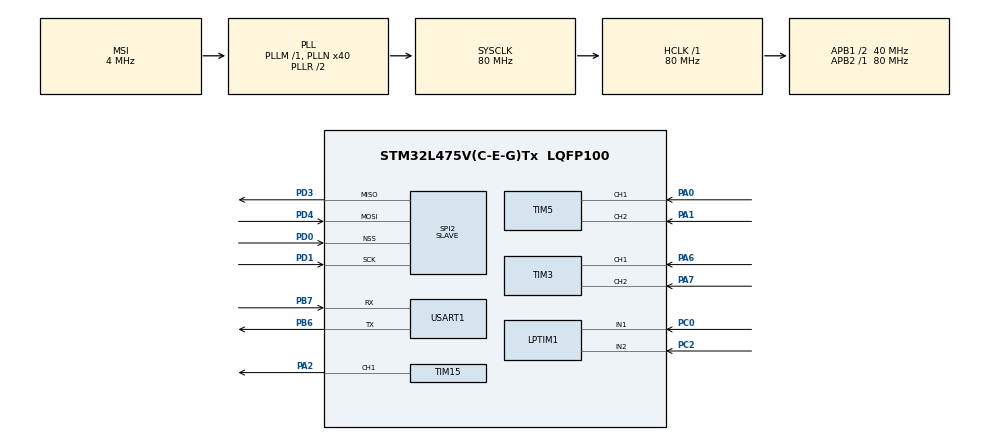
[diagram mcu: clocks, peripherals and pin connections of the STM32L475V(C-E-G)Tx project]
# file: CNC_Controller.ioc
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Dma.Request0=SPI2_RX
Dma.Request1=SPI2_TX
Dma.SPI2_RX.0.Direction=DMA_PERIPH_TO_MEMORY
Dma.SPI2_RX.0.Instance=DMA1_Channel4
Dma.SPI2_RX.0.MemDataAlignment=DMA_MDATAALIGN_BYTE
Dma.SPI2_RX.0.MemInc=DMA_MINC_ENABLE
Dma.SPI2_RX.0.Mode=DMA_CIRCULAR
Dma.SPI2_RX.0.PeriphDataAlignment=DMA_PDATAALIGN_BYTE
Dma.SPI2_RX.0.PeriphInc=DMA_PINC_DISABLE
Dma.SPI2_RX.0.Priority=DMA_PRIORITY_LOW
Dma.SPI2_TX.1.Direction=DMA_MEMORY_TO_PERIPH
Dma.SPI2_TX.1.Instance=DMA1_Channel5
Dma.SPI2_TX.1.MemDataAlignment=DMA_MDATAALIGN_BYTE
Dma.SPI2_TX.1.MemInc=DMA_MINC_ENABLE
Dma.SPI2_TX.1.Mode=DMA_CIRCULAR
Dma.SPI2_TX.1.PeriphDataAlignment=DMA_PDATAALIGN_BYTE
Dma.SPI2_TX.1.PeriphInc=DMA_PINC_DISABLE
Dma.SPI2_TX.1.Priority=DMA_PRIORITY_LOW
Mcu.Family=STM32L4
Mcu.Name=STM32L475V(C-E-G)Tx
Mcu.Package=LQFP100
NVIC.DMA1_Channel4_IRQn=true\:0\:0\:false\:false\:true\:false\:true\:true
NVIC.DMA1_Channel5_IRQn=true\:0\:0\:false\:false\:true\:false\:true\:true
NVIC.LPTIM1_IRQn=true\:0\:0\:false\:false\:true\:true\:true\:true
NVIC.PriorityGroup=NVIC_PRIORITYGROUP_4
NVIC.SPI2_IRQn=true\:0\:0\:false\:false\:true\:true\:true\:true
NVIC.TIM6_DAC_IRQn=true\:0\:0\:false\:false\:true\:true\:true\:true
NVIC.TIM7_IRQn=true\:0\:0\:false\:false\:true\:true\:true\:true
PA0.Signal=S_TIM5_CH1
PA1.Signal=S_TIM5_CH2
PA13\ (JTMS-SWDIO).Mode=Trace_Asynchronous_SW
PA13\ (JTMS-SWDIO).Signal=SYS_JTMS-SWDIO
PA14\ (JTCK-SWCLK).Mode=Trace_Asynchronous_SW
PA14\ (JTCK-SWCLK).Signal=SYS_JTCK-SWCLK
PA2.Signal=S_TIM15_CH1
PA6.Signal=S_TIM3_CH1
PA7.Signal=S_TIM3_CH2
PB13.Signal=TIM15_CH1N
PB3\ (JTDO-TRACESWO).Mode=Trace_Asynchronous_SW
PB3\ (JTDO-TRACESWO).Signal=SYS_JTDO-SWO
PB6.Mode=Asynchronous
PB6.Signal=USART1_TX
PB7.Mode=Asynchronous
PB7.Signal=USART1_RX
PC0.Mode=Encoder_mode_occur1
PC0.Signal=LPTIM1_IN1
PC2.Mode=Encoder_mode_occur1
PC2.Signal=LPTIM1_IN2
PD0.Mode=NSS_Signal_Hard_Input
PD0.Signal=SPI2_NSS
PD1.Mode=Full_Duplex_Slave
PD1.Signal=SPI2_SCK
PD3.Mode=Full_Duplex_Slave
PD3.Signal=SPI2_MISO
PD4.Mode=Full_Duplex_Slave
PD4.Signal=SPI2_MOSI
ProjectManager.HeapSize=0x200
ProjectManager.StackSize=0x400
ProjectManager.TargetToolchain=STM32CubeIDE
RCC.AHBFreq_Value=80000000
RCC.APB1CLKDivider=RCC_HCLK_DIV2
RCC.APB1Freq_Value=40000000
RCC.APB1TimFreq_Value=80000000
RCC.APB2Freq_Value=80000000
RCC.APB2TimFreq_Value=80000000
RCC.CortexFreq_Value=80000000
RCC.HCLKFreq_Value=80000000
RCC.HSE_VALUE=8000000
RCC.HSI_VALUE=16000000
RCC.LSE_VALUE=32768
RCC.MSI_VALUE=4000000
RCC.PLLN=40
RCC.SYSCLKFreq_VALUE=80000000
RCC.SYSCLKSource=RCC_SYSCLKSOURCE_PLLCLK
RCC.VCOOutputFreq_Value=160000000
SH.S_TIM15_CH1.0=TIM15_CH1,PWM Generation1 CH1
SH.S_TIM3_CH1.0=TIM3_CH1,Encoder_Interface
SH.S_TIM3_CH2.0=TIM3_CH2,Encoder_Interface
SH.S_TIM5_CH1.0=TIM5_CH1,Encoder_Interface
SH.S_TIM5_CH2.0=TIM5_CH2,Encoder_Interface
SPI2.CLKPhase=SPI_PHASE_2EDGE
SPI2.CLKPolarity=SPI_POLARITY_HIGH
SPI2.CRCCalculation=SPI_CRCCALCULATION_DISABLE
SPI2.DataSize=SPI_DATASIZE_8BIT
SPI2.Direction=SPI_DIRECTION_2LINES
SPI2.Mode=SPI_MODE_SLAVE
SPI2.VirtualNSS=VM_NSSHARD
SPI2.VirtualType=VM_SLAVE
TIM15.Channel-PWM\ Generation1\ CH1=TIM_CHANNEL_1
TIM15.Prescaler=8191
TIM6.AutoReloadPreload=TIM_AUTORELOAD_PRELOAD_ENABLE
TIM6.Period=19
TIM6.Prescaler=79
TIM6.TIM_MasterOutputTrigger=TIM_TRGO_UPDATE
TIM7.AutoReloadPreload=TIM_AUTORELOAD_PRELOAD_ENABLE
TIM7.Period=9
TIM7.Prescaler=7999
TIM7.TIM_MasterOutputTrigger=TIM_TRGO_RESET
USART1.VirtualMode-Asynchronous=VM_ASYNC
VP_TIM15_VS_ClockSourceINT.Mode=Internal
VP_TIM6_VS_ClockSourceINT.Mode=Enable_Timer
VP_TIM7_VS_ClockSourceINT.Mode=Enable_Timer
board=custom

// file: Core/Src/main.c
/* USER CODE BEGIN Header */
/**
 ******************************************************************************
 * @file           : main.c
 * @brief          : Main program body
 ******************************************************************************
 * @attention
 *
 * Copyright (c) 2025 STMicroelectronics.
 * All rights reserved.
 *
 * This software is licensed under terms that can be found in the LICENSE file
 * in the root directory of this software component.
 * If no LICENSE file comes with this software, it is provided AS-IS.
 *
 ******************************************************************************
 */
/* USER CODE END Header */
#include "main.h"
#include "dma.h"
#include "lptim.h"
#include "spi.h"
#include "tim.h"
#include "usart.h"
#include "gpio.h"

/* USER CODE BEGIN Includes */
#include "Services/Motion/motion_service.h"
#include "app.h"
#include "board_config.h"
#include "Services/Safety/safety_service.h"
#include "Services/Log/log_service.h"
#include "Protocol/frame_defs.h"
#include <stdio.h>
/* USER CODE END Includes */

/* USER CODE BEGIN PV */
volatile uint32_t g_spi_error_count = 0;
volatile uint32_t g_spi_last_error = 0;
/* USER CODE END PV */

void SystemClock_Config(void);

/* USER CODE BEGIN 0 */
//LOG_SVC_DEFINE(LOG_SVC_APP, "app");
/* USER CODE END 0 */

int main(void)
{

  /* MCU Configuration--------------------------------------------------------*/

  /* Reset of all peripherals, Initializes the Flash interface and the Systick. */
  HAL_Init();

  /* Configure the system clock */
  SystemClock_Config();

  /* Initialize all configured peripherals */
  MX_GPIO_Init();
  MX_DMA_Init();
  MX_SPI2_Init();
  MX_TIM6_Init();
  MX_TIM5_Init();
  MX_TIM7_Init();
  MX_TIM3_Init();
  MX_USART1_UART_Init();
  MX_TIM15_Init();
  MX_LPTIM1_Init();
  /* USER CODE BEGIN 2 */
    board_config_apply_motion_gpio();
    board_config_force_encoder_quadrature();
    board_config_apply_interrupt_priorities();
    app_init();
    // Inicia timers do laço de passos (TIM6) e controle/status (TIM7)
    HAL_TIM_Base_Start_IT(&htim6);
    HAL_TIM_Base_Start_IT(&htim7);
    //motion_demo_set_continuous(1);    /* Demo contínuo desativado: SPI controla movimento */
  /* USER CODE END 2 */

  /* Infinite loop */
  while (1) {

    /* USER CODE BEGIN 3 */
    //printf("oioioioioioi2\r\n");
    //HAL_Delay(1000);
    app_poll();
  }
  /* USER CODE END 3 */
}

void SystemClock_Config(void)
{
  RCC_OscInitTypeDef RCC_OscInitStruct = {0};
  RCC_ClkInitTypeDef RCC_ClkInitStruct = {0};

  /** Configure the main internal regulator output voltage
  */
  if (HAL_PWREx_ControlVoltageScaling(PWR_REGULATOR_VOLTAGE_SCALE1) != HAL_OK)
  {
    Error_Handler();
  }

  /** Initializes the RCC Oscillators according to the specified parameters
  * in the RCC_OscInitTypeDef structure.
  */
  RCC_OscInitStruct.OscillatorType = RCC_OSCILLATORTYPE_MSI;
  RCC_OscInitStruct.MSIState = RCC_MSI_ON;
  RCC_OscInitStruct.MSICalibrationValue = 0;
  RCC_OscInitStruct.MSIClockRange = RCC_MSIRANGE_6;
  RCC_OscInitStruct.PLL.PLLState = RCC_PLL_ON;
  RCC_OscInitStruct.PLL.PLLSource = RCC_PLLSOURCE_MSI;
  RCC_OscInitStruct.PLL.PLLM = 1;
  RCC_OscInitStruct.PLL.PLLN = 40;
  RCC_OscInitStruct.PLL.PLLP = RCC_PLLP_DIV7;
  RCC_OscInitStruct.PLL.PLLQ = RCC_PLLQ_DIV2;
  RCC_OscInitStruct.PLL.PLLR = RCC_PLLR_DIV2;
  if (HAL_RCC_OscConfig(&RCC_OscInitStruct) != HAL_OK)
  {
    Error_Handler();
  }

  /** Initializes the CPU, AHB and APB buses clocks
  */
  RCC_ClkInitStruct.ClockType = RCC_CLOCKTYPE_HCLK|RCC_CLOCKTYPE_SYSCLK
                              |RCC_CLOCKTYPE_PCLK1|RCC_CLOCKTYPE_PCLK2;
  RCC_ClkInitStruct.SYSCLKSource = RCC_SYSCLKSOURCE_PLLCLK;
  RCC_ClkInitStruct.AHBCLKDivider = RCC_SYSCLK_DIV1;
  RCC_ClkInitStruct.APB1CLKDivider = RCC_HCLK_DIV2;
  RCC_ClkInitStruct.APB2CLKDivider = RCC_HCLK_DIV1;

  if (HAL_RCC_ClockConfig(&RCC_ClkInitStruct, FLASH_LATENCY_4) != HAL_OK)
  {
    Error_Handler();
  }
}

/* USER CODE BEGIN 4 */
void HAL_SPI_TxRxCpltCallback(SPI_HandleTypeDef *hspi)
{
    app_spi_isr_txrx_done(hspi);
}

void HAL_SPI_ErrorCallback(SPI_HandleTypeDef *hspi)
{
    if (hspi == NULL) return;
    if (hspi->Instance != APP_SPI_INSTANCE) return;

    g_spi_last_error = hspi->ErrorCode;
    g_spi_error_count++;

    /* Indicação visual simples para diagnóstico */
    HAL_GPIO_TogglePin(GPIOB, GPIO_PIN_14);
}

/* Botões de segurança (EXTI):
 * - B1 (PC13): E-STOP imediato (pressionado = nível baixo)
 * - B2 (PC0): Reservado para futuros sensores/limites
 */
void HAL_GPIO_EXTI_Callback(uint16_t GPIO_Pin)
{
    switch (GPIO_Pin) {
    case GPIO_PIN_13: /* B1 - E-STOP */
        if (HAL_GPIO_ReadPin(GPIOC, GPIO_PIN_13) == GPIO_PIN_RESET) {
            motion_emergency_stop();
        }
        break;
    case GPIO_PIN_1:
    case GPIO_PIN_2:
    default:
        /* Reservado para sensores PROX/limites; sem ação específica aqui */
        break;
    }
}

/* USER CODE END 4 */

void Error_Handler(void)
{
  /* USER CODE BEGIN Error_Handler_Debug */
	/* User can add his own implementation to report the HAL error return state */
#if LOG_ENABLE
	log_event_ids(LOG_SVC_APP, LOG_STATE_ERROR, -1);
	log_event_names("app", "error", "Error_Handler");
#endif
	__disable_irq();
	while (1) {
	}
  /* USER CODE END Error_Handler_Debug */
}
